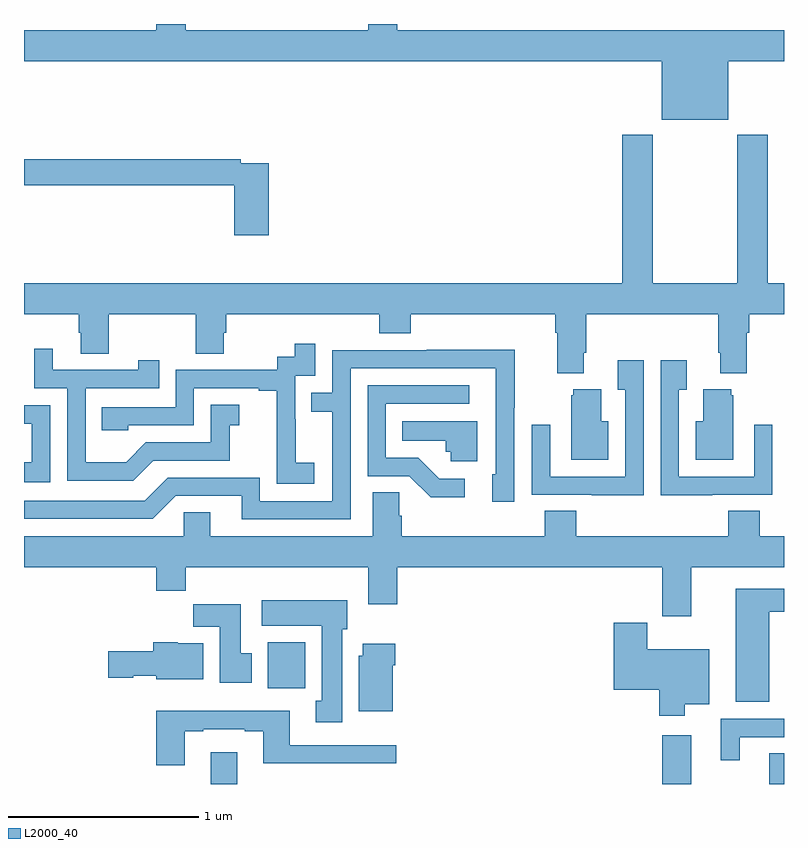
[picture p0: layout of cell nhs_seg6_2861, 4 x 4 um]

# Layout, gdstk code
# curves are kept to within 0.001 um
import gdstk
lib = gdstk.Library(unit=1e-6, precision=1e-09)
def R(c, l, rs):  # rectangles x0, y0, x1, y1
    for r in rs: c.add(gdstk.rectangle(r[:2], r[2:], *l))
def P(c, l, *ps):  # polygons
    for p in ps: c.add(gdstk.Polygon(p, *l))
L2000_40 = (2000, 40)

nhs_seg6_2861 = lib.new_cell('nhs_seg6_2861')
R(nhs_seg6_2861, L2000_40, [(279.983,975.5,280.123,975.667), (282.359,975.5,282.511,975.757), (282.923,975.5,283,975.662), (280.283,976.004,280.48,976.246)])
P(nhs_seg6_2861, L2000_40, [(282.706,979.304),(283,979.304),(283,979.468),(280.964,979.468),(280.964,979.5),(280.811,979.5),(280.811,979.468),(279.851,979.468),(279.851,979.5),(279.695,979.5),(279.695,979.468),(279,979.468),(279,979.304),(282.356,979.304),(282.356,978.995),(282.706,978.995)],
  [(281.947,977.77),(281.96,977.77),(281.96,977.972),(282.653,977.972),(282.653,977.77),(282.665,977.77),(282.665,977.663),(282.805,977.663),(282.805,977.876),(282.818,977.876),(282.818,977.972),(283,977.972),(283,978.136),(282.914,978.136),(282.914,978.916),(282.754,978.916),(282.754,978.136),(282.309,978.136),(282.309,978.916),(282.149,978.916),(282.149,978.136),(279,978.136),(279,977.972),(279.287,977.972),(279.287,977.874),(279.299,977.874),(279.299,977.764),(279.447,977.764),(279.447,977.972),(279.904,977.972),(279.904,977.764),(280.051,977.764),(280.051,977.874),(280.064,977.874),(280.064,977.972),(280.871,977.972),(280.871,977.873),(281.036,977.873),(281.036,977.972),(281.795,977.972),(281.795,977.876),(281.807,977.876),(281.807,977.663),(281.947,977.663)],
  [(280.289,978.768),(280.142,978.768),(280.142,978.788),(279,978.788),(279,978.652),(280.106,978.652),(280.106,978.387),(280.289,978.387)],
  [(280.528,977.191),(280.43,977.191),(280.43,977.42),(280.428,977.42),(280.428,977.649),(280.533,977.649),(280.533,977.818),(280.425,977.818),(280.425,977.748),(280.332,977.748),(280.332,977.679),(279.798,977.679),(279.798,977.484),(279.409,977.484),(279.409,977.361),(279.549,977.361),(279.549,977.388),(279.894,977.388),(279.894,977.583),(280.235,977.583),(280.235,977.571),(280.331,977.571),(280.331,977.287),(280.33,977.287),(280.33,977.081),(280.528,977.081)],
  [(279.679,977.202),(280.083,977.202),(280.083,977.387),(280.132,977.387),(280.132,977.497),(279.984,977.497),(279.984,977.298),(279.642,977.298),(279.538,977.194),(279.324,977.194),(279.324,977.583),(279.713,977.583),(279.713,977.731),(279.602,977.731),(279.602,977.679),(279.151,977.679),(279.151,977.791),(279.054,977.791),(279.054,977.583),(279.228,977.583),(279.228,977.097),(279.574,977.097)],
  [(280.719,977.688),(281.483,977.688),(281.484,977.13),(281.465,977.13),(281.465,976.986),(281.58,976.986),(281.58,977.479),(281.583,977.479),(281.583,977.786),(281.119,977.786),(281.119,977.784),(280.623,977.784),(280.623,977.559),(280.513,977.559),(280.513,977.458),(280.623,977.458),(280.623,976.989),(280.242,976.989),(280.242,977.112),(279.756,977.112),(279.636,976.992),(279,976.992),(279,976.896),(279.678,976.896),(279.798,977.016),(280.145,977.016),(280.145,976.893),(280.719,976.893)],
  [(282.623,977.022),(282.939,977.022),(282.939,977.392),(282.843,977.392),(282.843,977.118),(282.447,977.118),(282.447,977.575),(282.487,977.575),(282.487,977.731),(282.351,977.731),(282.351,977.021),(282.623,977.021)],
  [(282.261,977.731),(282.125,977.731),(282.125,977.575),(282.165,977.575),(282.165,977.118),(281.769,977.118),(281.769,977.392),(281.673,977.392),(281.673,977.022),(281.989,977.022),(281.989,977.021),(282.261,977.021)],
  [(281.32,977.106),(281.185,977.106),(281.074,977.217),(280.905,977.217),(280.905,977.502),(281.344,977.502),(281.344,977.598),(280.809,977.598),(280.809,977.121),(281.028,977.121),(281.141,977.009),(281.32,977.009)],
  [(282.076,977.41),(282.037,977.41),(282.037,977.578),(281.891,977.578),(281.891,977.547),(281.879,977.547),(281.879,977.207),(282.076,977.207)],
  [(282.733,977.547),(282.722,977.547),(282.722,977.578),(282.575,977.578),(282.575,977.41),(282.536,977.41),(282.536,977.207),(282.733,977.207)],
  [(279.138,977.493),(279,977.493),(279,977.397),(279.041,977.397),(279.041,977.193),(279,977.193),(279,977.088),(279.138,977.088)],
  [(281.386,977.41),(280.99,977.41),(280.99,977.306),(281.221,977.306),(281.221,977.25),(281.247,977.25),(281.247,977.198),(281.386,977.198)],
  [(282.511,976.64),(283,976.64),(283,976.804),(282.872,976.804),(282.872,976.937),(282.707,976.937),(282.707,976.804),(281.906,976.804),(281.906,976.937),(281.741,976.937),(281.741,976.804),(280.988,976.804),(280.988,976.913),(280.974,976.913),(280.974,977.036),(280.835,977.036),(280.835,976.804),(279.979,976.804),(279.979,976.931),(279.84,976.931),(279.84,976.804),(279,976.804),(279,976.64),(279.695,976.64),(279.695,976.516),(279.851,976.516),(279.851,976.64),(280.811,976.64),(280.811,976.446),(280.964,976.446),(280.964,976.64),(282.359,976.64),(282.359,976.383),(282.511,976.383)],
  [(282.922,976.406),(283,976.406),(283,976.528),(282.746,976.528),(282.746,975.932),(282.922,975.932)],
  [(280.675,976.314),(280.702,976.314),(280.702,976.468),(280.251,976.468),(280.251,976.334),(280.568,976.334),(280.568,975.938),(280.535,975.938),(280.535,975.825),(280.675,975.825)],
  [(280.198,976.188),(280.141,976.188),(280.141,976.447),(279.892,976.447),(279.892,976.328),(280.031,976.328),(280.031,976.032),(280.198,976.032)],
  [(282.478,975.92),(282.607,975.92),(282.607,976.21),(282.281,976.21),(282.281,976.348),(282.104,976.348),(282.104,975.995),(282.344,975.995),(282.344,975.858),(282.478,975.858)],
  [(279.943,976.24),(279.81,976.24),(279.81,976.246),(279.68,976.246),(279.68,976.2),(279.444,976.2),(279.444,976.058),(279.576,976.058),(279.576,976.07),(279.696,976.07),(279.696,976.052),(279.943,976.052)],
  [(280.942,976.124),(280.955,976.124),(280.955,976.237),(280.784,976.237),(280.784,976.176),(280.763,976.176),(280.763,975.884),(280.942,975.884)],
  [(279.847,975.777),(279.943,975.777),(279.943,975.789),(280.163,975.789),(280.163,975.777),(280.259,975.777),(280.259,975.608),(280.96,975.608),(280.96,975.705),(280.399,975.705),(280.399,975.886),(279.695,975.886),(279.695,975.6),(279.847,975.6)],
  [(282.766,975.747),(283,975.747),(283,975.843),(282.668,975.843),(282.668,975.624),(282.766,975.624)])

lib.write_gds('nhs_seg6_2861.gds')
